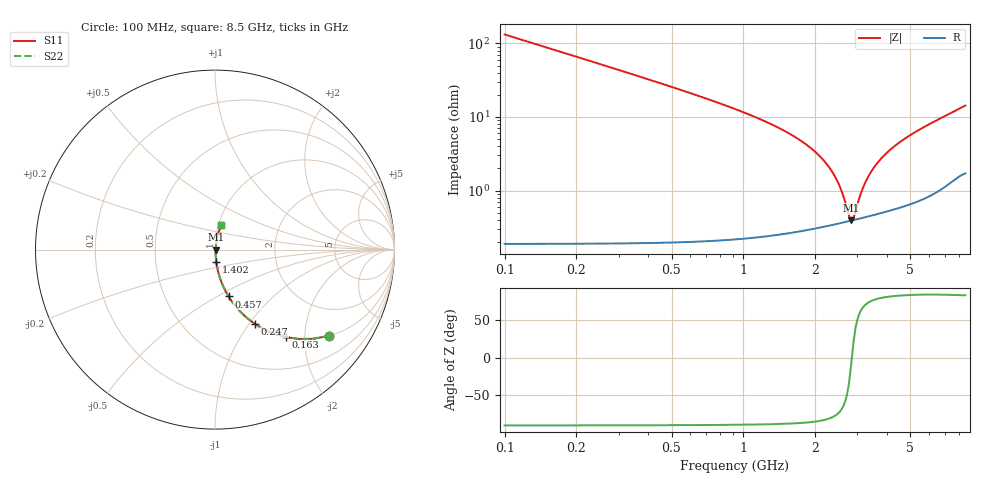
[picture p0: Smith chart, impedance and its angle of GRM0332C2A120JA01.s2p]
!Murata Part Number: GRM0332C2A120JA01
!These Parameters are Measured in Series Mode Connection
!Data Generated on Mar 30, 2021
!  o--ll--o
!Port1  Port2
!  o------o
!Operation Temp=25[degC], DC Bias Voltage=0[V]
!Freq. Start=100[MHz] Stop=9[GHz] 401[Steps]
# Hz S RI R 50
!Freq.(Hz) S11(Real) S11(Imag) S21(Real) S21(Imag) S12(Real) S12(Imag) S22(Real) S22(Imag)
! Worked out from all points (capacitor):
!   401 points, 100 MHz to 8.5 GHz, reference 50 ohm
!   read as one part in series: C = 12 pF near 142 MHz
!   lowest |Z| = 393 mohm at 2.83 GHz (marker M1)
!   series resonance near 2.844 GHz, so ESL is about 260 pH
!   S11 on the Smith chart (normalised r, x): 100 MHz: 1.00, -2.65; 163 MHz: 1.00, -1.62; 247 MHz: 1.00, -1.07; 457 MHz: 1.00, -0.57; 1.402 GHz: 1.01, -0.14; 8.5 GHz: 1.03, +0.28
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1e8  0.6368 -0.4802  0.3632 0.4802  0.3632 0.4802  0.6368 -0.4802
1.63e8  0.397 -0.4881  0.603 0.4881  0.603 0.4881  0.397 -0.4881
2.47e8  0.222 -0.4138  0.778 0.4138  0.778 0.4138  0.222 -0.4138
3.31e8  0.1363 -0.3407  0.8637 0.3407  0.8637 0.3407  0.1363 -0.3407
4.57e8  0.0755 -0.2608  0.9245 0.2608  0.9245 0.2608  0.0755 -0.2608
8.14e8  0.0238 -0.1456  0.9762 0.1456  0.9762 0.1456  0.0238 -0.1456
1.402e9  0.00754 -0.0707  0.9925 0.0707  0.9925 0.0707  0.00754 -0.0707
1.507e9  0.00653 -0.0625  0.9935 0.0625  0.9935 0.0625  0.00653 -0.0625
1.99e9  0.00417 -0.0336  0.9958 0.0336  0.9958 0.0336  0.00417 -0.0336
2.326e9  0.00371 -0.0187  0.9963 0.0187  0.9963 0.0187  0.00371 -0.0187
2.536e9  0.00369 -0.0106  0.9963 0.0106  0.9963 0.0106  0.00369 -0.0106
2.767e9  0.00383 -0.00252  0.9962 0.00252  0.9962 0.00252  0.00383 -0.00252
2.83e9  0.00389 -0.000439  0.9961 0.000439  0.9961 0.000439  0.00389 -0.000439
2.914e9  0.00398 0.00226  0.996 -0.00226  0.996 -0.00226  0.00398 0.00226
3.145e9  0.00431 0.00931  0.9957 -0.00931  0.9957 -0.00931  0.00431 0.00931
3.397e9  0.00478 0.0165  0.9952 -0.0165  0.9952 -0.0165  0.00478 0.0165
3.775e9  0.00563 0.0265  0.9944 -0.0265  0.9944 -0.0265  0.00563 0.0265
4.3e9  0.00711 0.0395  0.9929 -0.0395  0.9929 -0.0395  0.00711 0.0395
4.909e9  0.00923 0.0535  0.9908 -0.0535  0.9908 -0.0535  0.00923 0.0535
5.707e9  0.0128 0.0712  0.9872 -0.0712  0.9872 -0.0712  0.0128 0.0712
7.114e9  0.0223 0.1021  0.9777 -0.1021  0.9777 -0.1021  0.0223 0.1021
8.5e9  0.0357 0.1347  0.9643 -0.1347  0.9643 -0.1347  0.0357 0.1347
